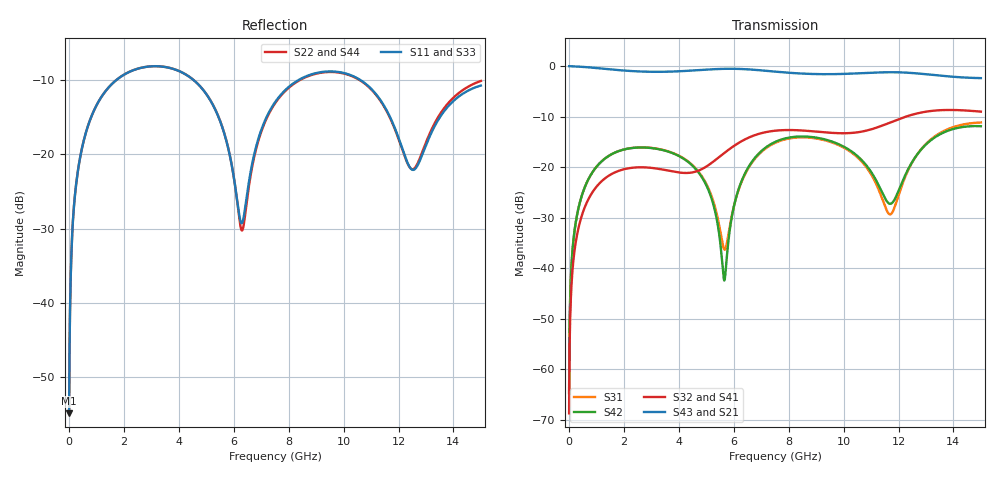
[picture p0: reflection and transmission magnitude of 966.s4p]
! Created with skrf 1.8.0 (http://scikit-rf.org).
# GHz S RI R 50.0
!freq ReS11 ImS11 ReS12 ImS12 ReS13 ImS13
! ReS14 ImS14
! ReS21 ImS21 ReS22 ImS22 ReS23 ImS23
! ReS24 ImS24
! ReS31 ImS31 ReS32 ImS32 ReS33 ImS33
! ReS34 ImS34
! ReS41 ImS41 ReS42 ImS42 ReS43 ImS43
! ReS44 ImS44
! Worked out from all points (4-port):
!   2499 points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, 5 MHz to 15 GHz, reference 50 ohm
!   strongest paths, dB at 5 MHz, 3.476 GHz, 7.19 GHz, 11.1 GHz, 15 GHz:
!     S43: 0.0, -1.1, -0.9, -1.3, -2.4
!     S21: 0.0, -1.1, -0.9, -1.3, -2.4
!     S32: -68.7, -20.5, -13.0, -12.4, -9.0
!     S41: -68.7, -20.6, -13.1, -12.4, -9.1
!     S42: -64.7, -16.7, -16.0, -21.8, -11.9
!     S31: -64.7, -16.7, -16.2, -22.4, -11.2
!   lowest |S11| = -54.9 dB at 5 MHz (marker M1), VSWR 1.00, Z = 50.1 + j0.109 ohm
!   |S11| at or under -10 dB: start of sweep to 1.714 GHz; 4.546 GHz to 8.345 GHz (3.8 GHz wide, 59 % of centre); 10.63 GHz to end of sweep
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0.005  0.00143 0.00109  0.9985 -0.00278  7.15e-05 0.000575  -6.94e-05 -0.000359
       0.9985 -0.00278  0.00143 0.00109  -6.94e-05 -0.000359  7.14e-05 0.000575
       7.15e-05 0.000575  -6.94e-05 -0.000359  0.00143 0.00109  0.9985 -0.00278
       -6.94e-05 -0.000359  7.14e-05 0.000575  0.9985 -0.00278  0.00143 0.00109
0.3126303  0.0191 0.0722  0.974 -0.174  0.00869 0.0346  -0.00721 -0.0215
           0.974 -0.174  0.0191 0.0722  -0.00722 -0.0215  0.00865 0.0346
           0.00869 0.0346  -0.00722 -0.0215  0.0191 0.0722  0.974 -0.174
           -0.00721 -0.0215  0.00865 0.0346  0.974 -0.174  0.0191 0.0722
1.519383  0.2224 0.1906  0.6459 -0.666  0.1108 0.0731  -0.0816 -0.0215
          0.6459 -0.666  0.2224 0.1906  -0.0817 -0.0215  0.1102 0.0738
          0.1108 0.0731  -0.0817 -0.0215  0.2223 0.1906  0.6459 -0.666
          -0.0816 -0.0215  0.1102 0.0738  0.6459 -0.666  0.2225 0.1906
5.652355  0.0704 -0.1197  -0.8645 -0.3681  -0.0145 -0.00518  -0.0505 0.1281
          -0.8645 -0.3681  0.0683 -0.1218  -0.0496 0.1285  -0.0073 -0.00197
          -0.0145 -0.00518  -0.0496 0.1285  0.069 -0.1199  -0.8646 -0.3681
          -0.0505 0.1281  -0.0073 -0.00197  -0.8646 -0.3681  0.0695 -0.1209
6.258858  0.0339 -0.00801  -0.9336 -0.0723  -0.00274 0.0686  -0.0101 0.1784
          -0.9336 -0.0723  0.0302 -0.00991  -0.00901 0.1786  0.00567 0.0696
          -0.00274 0.0686  -0.00901 0.1786  0.0318 -0.00768  -0.9336 -0.0723
          -0.0101 0.1784  0.00567 0.0696  -0.9336 -0.0723  0.0323 -0.00921
10.2105  0.3297 -0.1018  0.1792 0.822  0.1058 -0.0984  0.1931 -0.0954
         0.1792 0.822  0.3294 -0.093  0.1929 -0.0999  0.1051 -0.1042
         0.1058 -0.0984  0.1929 -0.0999  0.3316 -0.0959  0.1786 0.8217
         0.1931 -0.0954  0.1051 -0.1042  0.1786 0.8217  0.3299 -0.0992
15  0.2885 0.041  0.4263 -0.629  0.2765 -0.00922  -0.3343 -0.1109
    0.4263 -0.629  0.3081 0.0547  -0.3383 -0.1056  0.2506 0.0417
    0.2765 -0.00922  -0.3383 -0.1056  0.2841 0.0422  0.4275 -0.6289
    -0.3343 -0.1109  0.2506 0.0417  0.4275 -0.6289  0.3093 0.0527
